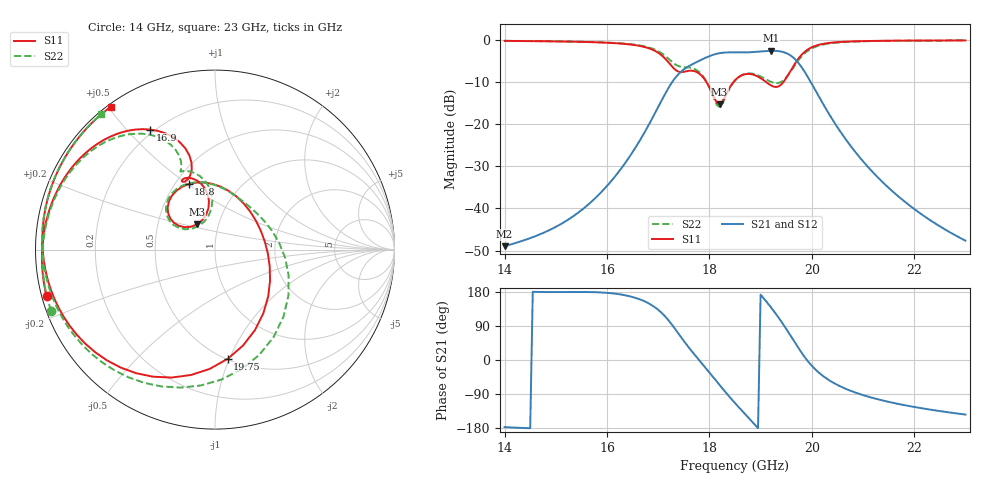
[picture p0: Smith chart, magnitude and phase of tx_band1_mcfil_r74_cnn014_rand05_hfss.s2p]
! Touchstone file exported from HFSS 3D Layout Design 2026.1.0
!  File:  D:/Work/SIM/ADS_AUTO_SIM/projects/RFSOC_RF/TX_Fillter.aedt
!  Generated:  08:11:31 AM Aug 31, 2026
!  Design:  TX_BAND1_MCFIL_R74_CNN014
!  Project:  TX_Fillter
# GHz S MA R 50.000000
! Terminal data exported
! Port[1] = Port1
! Port[2] = Port2
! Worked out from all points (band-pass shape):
!   181 points, 14 GHz to 23 GHz, reference 50 ohm
!   highest |S21| = -2.58 dB at 19.2 GHz (marker M1); lowest = -48.9 dB at 14 GHz (marker M2)
!   |S21| within 3 dB of the highest: 17.7 GHz to 19.75 GHz (2.047 GHz wide, 10.9 % of centre)
!   lowest |S11| = -15.3 dB at 18.2 GHz (marker M3), VSWR 1.42, Z = 39.4 + j11.4 ohm
!   |S11| at or under -10 dB: 17.94 GHz to 18.47 GHz (529.5 MHz wide, 2.91 % of centre); 19.11 GHz to 19.45 GHz (337.7 MHz wide, 1.75 % of centre)
!   |S22| runs from -15.9 to -0.1 dB; largest |S21 - S12| = 1.3e-14
!   S11 on the Smith chart (normalised r, x): 14 GHz: 0.01, -0.14; 16.9 GHz: 0.18, +0.58; 18.8 GHz: 0.58, +0.50; 19.75 GHz: 0.51, -0.99; 23 GHz: 0.01, +0.51
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14  0.9737 -164.5  0.003569 -177.1  0.003569 -177.1  0.9745 -159.5
15.5  0.9482 166.0  0.009535 179.5  0.009535 179.5  0.95 170.7
16.3  0.9019 144.0  0.0311 172.2  0.0311 172.2  0.9072 148.8
16.9  0.7602 118.4  0.1225 142.4  0.1225 142.4  0.7823 124.3
17  0.7038 113.1  0.16 132.4  0.16 132.4  0.7339 119.4
17.25  0.5005 105.1  0.301 96.5  0.301 96.5  0.5626 110.9
17.5  0.4181 115.5  0.4463 50.3  0.4463 50.3  0.4755 113.9
17.7  0.4276 110.7  0.527 15.9  0.527 15.9  0.4549 107.3
17.9  0.3455 99.3  0.6041 -16.4  0.6041 -16.4  0.3536 95.7
18.2  0.1727 125.6  0.6961 -66.0  0.6961 -66.0  0.1599 124.8
18.5  0.332 142.0  0.7107 -113.7  0.7107 -113.7  0.3298 144.4
18.8  0.3935 112.0  0.7142 -157.5  0.7142 -157.5  0.4001 116.5
19  0.3519 84.7  0.7303 172.4  0.7303 172.4  0.3683 94.0
19.2  0.2891 47.5  0.7433 139.4  0.7433 139.4  0.3184 67.5
19.45  0.3184 -16.8  0.7148 92.4  0.7148 92.4  0.3333 18.9
19.6  0.4457 -52.8  0.644 61.0  0.644 61.0  0.4342 -19.2
19.75  0.6129 -83.4  0.5221 29.3  0.5221 29.3  0.5863 -56.1
20  0.8174 -122.7  0.3003 -15.1  0.3003 -15.1  0.7922 -104.0
20.25  0.9043 -148.4  0.162 -45.2  0.162 -45.2  0.8877 -134.6
20.55  0.9449 -168.5  0.08291 -69.1  0.08291 -69.1  0.9352 -158.1
21.5  0.9776 156.5  0.01759 -110.5  0.01759 -110.5  0.9754 162.5
23  0.985 126.1  0.004151 -144.0  0.004151 -144.0  0.985 130.0
